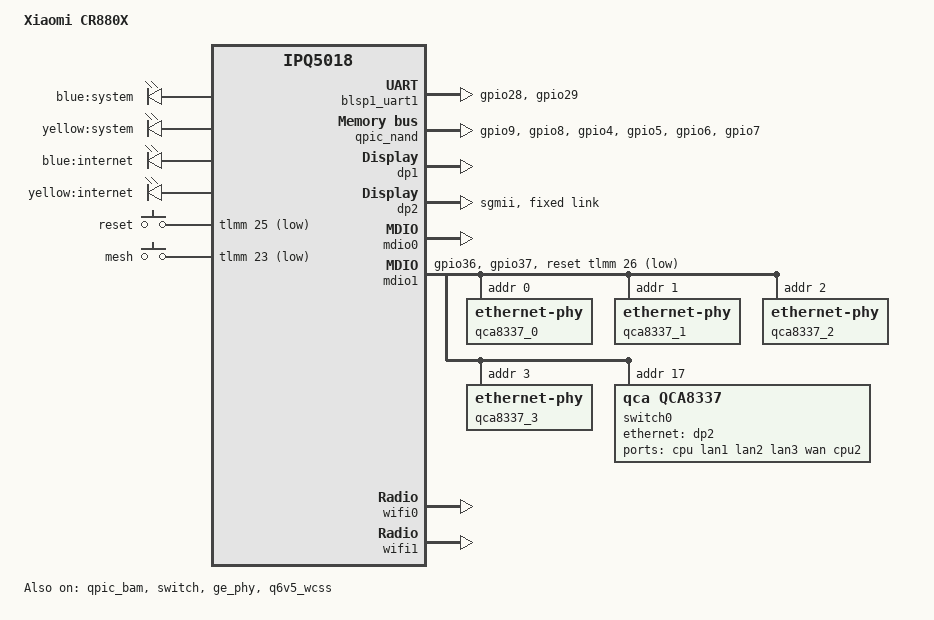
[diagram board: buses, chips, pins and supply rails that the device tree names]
// SPDX-License-Identifier: (GPL-2.0+)

/dts-v1/;

#include "ipq5018.dtsi"
#include "ipq5018-256m.dtsi"
#include "ipq5018-ess.dtsi"
#include <dt-bindings/gpio/gpio.h>
#include <dt-bindings/input/input.h>

/ {
	model = "Xiaomi CR880X";
	compatible = "xiaomi,cr880x", "qcom,ipq5018";

	aliases {
		serial0 = &blsp1_uart1;

		ethernet0 = &dp1;
		ethernet1 = &dp2;

		led-boot = &led_system_blue;
		led-failsafe = &led_system_yellow;
		led-running = &led_system_blue;
		led-upgrade = &led_system_yellow;
	};

	chosen {
		bootargs-append = " root=/dev/ubiblock0_1 coherent_pool=2M";
		stdout-path = "serial0:115200n8";
	};

	reserved-memory {
		q6_mem_regions {
        		reg = <0x00 0x4b000000 0x00 0x3400000>;
        		no-map;	
		};

                q6_code_data@4b000000 {
                        reg = <0x00 0x4b000000 0x00 0x1400000>;
			no-map;
                };

                q6_ipq5018_data@4c400000 {
                        reg = <0x00 0x4c400000 0x00 0xd00000>;
			no-map;
                };

                m3_dump@4d100000 {
                        reg = <0x00 0x4d100000 0x00 0x100000>;
			no-map;
                };

                q6_etr_dump@4d200000 {
                        reg = <0x00 0x4d200000 0x00 0x100000>;
			no-map;
                };

                q6_qcn6122_data1@4d300000 {
                        reg = <0x00 0x4d300000 0x00 0xf00000>;
			no-map;
                };

                m3_dump_qcn6122_1@4e200000 {
                        reg = <0x00 0x4e200000 0x00 0x100000>;
			no-map;
                };

                q6_qcn6122_etr_1@4e300000 {
                        reg = <0x00 0x4e300000 0x00 0x100000>;
			no-map;
                };

                rsvd1@4e400000 {
                        reg = <0x00 0x4e400000 0x00 0x80000>;
			no-map;
                };

                rsvd2@4e480000 {
                        reg = <0x00 0x4e480000 0x00 0x80000>;
			no-map;
                };
	};
};

&tlmm {
	blsp_uart0_pins: blsp_uart0_pins {
		pins =
			"gpio28", /* RX */
			"gpio29"; /* TX */
		function = "blsp0_uart1";
		drive-strength = <8>;
		bias-disable;
	};

	qspi_nand_pins: qspi_nand_pins {
		clock {
			pins = "gpio9";
			function = "qspi_clk";
			drive-strength = <8>;
			bias-disable;
		};

		cs {
			pins = "gpio8";
			function = "qspi_cs";
			drive-strength = <8>;
			bias-disable;
		};

		data {
			pins = "gpio4", "gpio5", "gpio6", "gpio7";
			function = "qspi_data";
			drive-strength = <8>;
			bias-disable;
		};
	};

	mdio1_pins: mdio1_pins {
		mdc {
			pins = "gpio36";
			function = "mdc";
			drive-strength = <8>;
			bias-pull-up;
		};

		mdio {
			pins = "gpio37";
			function = "mdio";
			drive-strength = <8>;
			bias-pull-up;
		};
	};

	leds_pins: leds_pins {
		led_system_blue {
			pins = "gpio19";
			function = "gpio";
			drive-strength = <8>;
			bias-pull-down;
		};

		led_system_yellow {
			pins = "gpio17";
			function = "gpio";
			drive-strength = <8>;
			bias-pull-down;
		};

		led_internet_blue {
			pins = "gpio22";
			function = "gpio";
			drive-strength = <8>;
			bias-pull-down;
		};

		led_internet_yellow {
			pins = "gpio20";
			function = "gpio";
			drive-strength = <8>;
			bias-pull-down;
		};
	};

	button_pins: button_pins {
		button_reset {
			pins = "gpio25";
			function = "gpio";
			drive-strength = <8>;
			bias-pull-up;
		};

		button_mesh {
			pins = "gpio23";
			function = "gpio";
			drive-strength = <8>;
			bias-pull-up;
		};
	};
};

&blsp1_uart1 {
	pinctrl-0 = <&blsp_uart0_pins>;
	pinctrl-names = "default";
	status = "okay";
};

&qpic_bam {
	status = "okay";
};

&qpic_nand {
	pinctrl-0 = <&qspi_nand_pins>;
	pinctrl-names = "default";
	status = "okay";
};

&soc {
	leds {
		compatible = "gpio-leds";
		pinctrl-0 = <&leds_pins>;
		pinctrl-names = "default";

		led_system_blue: led_system_blue {
			label = "blue:system";
			gpio = <&tlmm 19 GPIO_ACTIVE_HIGH>;
			default-state = "on";
		};

		led_system_yellow: led_system_yellow {
			label = "yellow:system";
			gpio = <&tlmm 17 GPIO_ACTIVE_HIGH>;
		};

		led_internet_blue: led_internet_blue {
			label = "blue:internet";
			gpio = <&tlmm 22 GPIO_ACTIVE_HIGH>;
		};

		led_internet_yellow: led_internet_yellow {
			label = "yellow:internet";
			gpio = <&tlmm 20 GPIO_ACTIVE_HIGH>;
		};
	};

	button {
		compatible = "gpio-keys";
		pinctrl-0 = <&button_pins>;
		pinctrl-names = "default";

		button_reset {
			label = "reset";
			gpios = <&tlmm 25 GPIO_ACTIVE_LOW>;
			linux,input-type = <EV_KEY>;
			linux,code = <KEY_RESTART>;
			debounce-interval = <60>;
		};

		button_mesh {
			label = "mesh";
			gpios = <&tlmm 23 GPIO_ACTIVE_LOW>;
			linux,input-type = <EV_KEY>;
			linux,code = <KEY_WPS_BUTTON>;
			debounce-interval = <60>;
		};
	};
};

&switch {
	status = "okay";
	switch_mac_mode = <MAC_MODE_SGMII_CHANNEL0>;

	qcom,port_phyinfo {
		port@0 {
			port_id = <1>;
			mdiobus = <&mdio0>;
			phy_address = <7>;
			phy_dac = <0x10 0x10>;
		};

		port@1 {
			port_id = <2>;
			forced-speed = <1000>;
			forced-duplex = <1>;
		};
	};
};

&dp1 {
	/*
	 * ===============================================================
	 *     _______________________         _______________________
	 *    |        IPQ5018        |       |        QCA8337        |
	 *    | +------+   +--------+ |       | +--------+   +------+ |
	 *    | | MAC0 |---| GE Phy |-+--UTP--+-|  Phy4  |---| MAC5 | |
	 *    | +------+   +--------+ |       | +--------+   +------+ |
	 *    | +------+   +--------+ |       | +--------+   +------+ |
	 *    | | MAC1 |---| Uniphy |-+-SGMII-+-| SerDes |---| MAC0 | |
	 *    | +------+   +--------+ |       | +--------+   +------+ |
	 *    |_______________________|       |_______________________|
	 *
	 * ===============================================================
	 *
	 * Current drivers don't support such topology. So dp1 and ge_phy
	 * are useless. But they can't be disabled dut to qca-ssdk use
	 * ge_phy to detect IPQ5018 dummy switch.
	 */
	status = "okay";
};

// MAC1 ---SGMII---> QCA8337 SerDes
&dp2 {
	status = "okay";
	phy-mode = "sgmii";

	fixed-link {
		speed = <1000>;
		full-duplex;
	};
};

&mdio0 {
	status = "okay";
};

// IPQ5018 GE Phy -> QCA8337 Phy4
&ge_phy {
	status = "okay";
};

&mdio1 {
	pinctrl-0 = <&mdio1_pins>;
	pinctrl-names = "default";
	status = "okay";

	reset-gpios = <&tlmm 26 GPIO_ACTIVE_LOW>;

	// QCA8337 Phy0 -> LAN1
	qca8337_0: ethernet-phy@0 {
		reg = <0>;
	};

	// QCA8337 Phy1 -> LAN2
	qca8337_1: ethernet-phy@1 {
		reg = <1>;
	};

	// QCA8337 Phy2 -> LAN3
	qca8337_2: ethernet-phy@2 {
		reg = <2>;
	};

	// QCA8337 Phy3 -> WAN
	qca8337_3: ethernet-phy@3 {
		reg = <3>;
	};

	// QCA8337 Phy4 -> IPQ5018 GE Phy
	qca8337_4: ethernet-phy@4 {
		reg = <4>;
		status = "disabled";
	};

	switch0: ethernet-switch@17 {
		compatible = "qca,qca8337";
		reg = <17>;

		ports {
			#address-cells = <1>;
			#size-cells = <0>;

			switch0cpu: port@0 {
				reg = <0>;
				label = "cpu";
				phy-mode = "sgmii";
				ethernet = <&dp2>;
				qca,sgmii-enable-pll;

				fixed-link {
					speed = <1000>;
					full-duplex;
				};
			};

			port@1 {
				reg = <1>;
				label = "lan1";
				phy-handle = <&qca8337_0>;
			};

			port@2 {
				reg = <2>;
				label = "lan2";
				phy-handle = <&qca8337_1>;
			};

			port@3 {
				reg = <3>;
				label = "lan3";
				phy-handle = <&qca8337_2>;
			};

			port@4 {
				reg = <4>;
				label = "wan";
				phy-handle = <&qca8337_3>;
			};

			port@5 {
				reg = <5>;
				label = "cpu2";
				phy-handle = <&qca8337_4>;
				status = "disabled";
			};
		};
	};
};

&q6v5_wcss {
	memory-region = <&q6_mem_regions>;

	firmware-name = "IPQ5018/q6_fw.mdt",
			"IPQ5018/m3_fw.mdt",
			"qcn6122/m3_fw.mdt";

	qcom,bootargs_smem = <507>;
	boot-args = </*       type: */ 0x2 /* PCIE1 */
		     /*     length: */ 4
		     /*      PD id: */ 2
		     /* reset GPIO: */ 27
		     /*   reserved: */ 0 0>;

	status = "okay";

	// IPQ5018
	q6_wcss_pd1: pd-1 {
		resets =
			<&gcc GCC_WCSSAON_RESET>,
			<&gcc GCC_WCSS_BCR>,
			<&gcc GCC_CE_BCR>;
		reset-names =
			"wcss_aon_reset",
			"wcss_reset",
			"ce_reset";

		clocks =
			<&gcc GCC_WCSS_AHB_S_CLK>,
			<&gcc GCC_WCSS_ACMT_CLK>,
			<&gcc GCC_WCSS_AXI_M_CLK>;
		clock-names =
			"gcc_wcss_ahb_s_clk",
					"gcc_wcss_acmt_clk",
					"gcc_wcss_axi_m_clk";

		reg = <0x4ab000 0x20>;
		reg-names = "rmb";

		// qcom,halt-regs = <&tcsr_q6_block 0xa000 0xd000 0x0>;

		interrupts-extended =
			<&wcss_smp2p_in 8 0>,
			<&wcss_smp2p_in 9 0>,
			<&wcss_smp2p_in 12 0>,
			<&wcss_smp2p_in 11 0>;
		interrupt-names =
			"fatal",
			"ready",
			"spawn-ack",
			"stop-ack";

		qcom,smem-states =
			<&wcss_smp2p_out 8>,
			<&wcss_smp2p_out 9>,
			<&wcss_smp2p_out 10>;
		qcom,smem-state-names =
			"shutdown",
			"stop",
			"spawn";

		firmware-name = "IPQ5018/q6_fw.mdt";
		m3_firmware = "IPQ5018/m3_fw.mdt";
	};

	// QCN6102
	q6_wcss_pd2: pd-2 {
		interrupts-extended =
			<&wcss_smp2p_in 16 0>,
			<&wcss_smp2p_in 17 0>,
			<&wcss_smp2p_in 20 0>,
			<&wcss_smp2p_in 19 0>;
		interrupt-names =
			"fatal",
			"ready",
			"spawn-ack",
			"stop-ack";

		qcom,smem-states =
			<&wcss_smp2p_out 16>,
			<&wcss_smp2p_out 17>,
			<&wcss_smp2p_out 18>;
		qcom,smem-state-names =
			"shutdown",
			"stop",
			"spawn";

		firmware-name = "IPQ5018/q6_fw.mdt";
		m3_firmware = "qcn6122/m3_fw.mdt";
	};
};

&wifi0 {
	// IPQ5000
	qcom,rproc = <&q6_wcss_pd1>;
	qcom,board_id = <0x10>;

	qcom,ath11k-fw-memory-mode = <2>;
	qcom,bdf-addr = <0x4c400000>;
	qcom,m3-dump-addr = <0x4d100000>;

	status = "okay";
};

&wifi1 {
	// QCN6102
	qcom,rproc = <&q6_wcss_pd2>;

	qcom,board_id = <0x50>;

	qcom,ath11k-fw-memory-mode = <2>;
	qcom,bdf-addr = <0x4d300000>;
	qcom,m3-dump-addr = <0x4e200000>;

	status = "okay";
};
